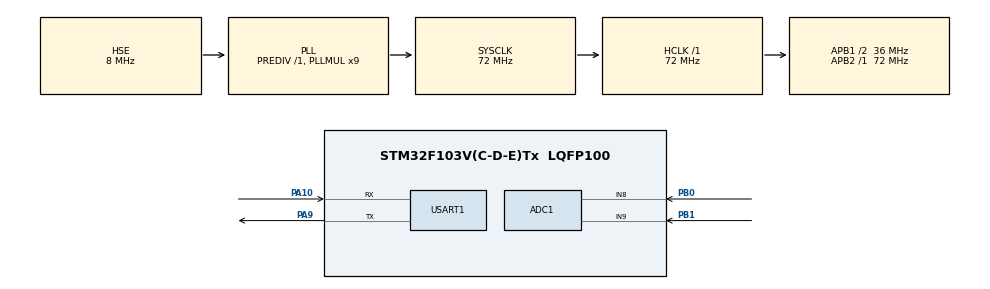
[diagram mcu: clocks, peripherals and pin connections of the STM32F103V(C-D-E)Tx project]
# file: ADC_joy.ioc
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ADC1.Channel-0\#ChannelRegularConversion=ADC_CHANNEL_8
ADC1.Channel-1\#ChannelRegularConversion=ADC_CHANNEL_9
ADC1.ContinuousConvMode=DISABLE
ADC1.NbrOfConversion=2
ADC1.NbrOfConversionFlag=1
ADC1.Rank-0\#ChannelRegularConversion=1
ADC1.Rank-1\#ChannelRegularConversion=2
ADC1.SamplingTime-0\#ChannelRegularConversion=ADC_SAMPLETIME_1CYCLE_5
ADC1.SamplingTime-1\#ChannelRegularConversion=ADC_SAMPLETIME_1CYCLE_5
ADC1.master=1
Dma.ADC1.0.Direction=DMA_PERIPH_TO_MEMORY
Dma.ADC1.0.Instance=DMA1_Channel1
Dma.ADC1.0.MemDataAlignment=DMA_MDATAALIGN_WORD
Dma.ADC1.0.MemInc=DMA_MINC_ENABLE
Dma.ADC1.0.Mode=DMA_NORMAL
Dma.ADC1.0.PeriphDataAlignment=DMA_PDATAALIGN_WORD
Dma.ADC1.0.PeriphInc=DMA_PINC_DISABLE
Dma.ADC1.0.Priority=DMA_PRIORITY_LOW
Dma.Request0=ADC1
Mcu.Family=STM32F1
Mcu.Name=STM32F103V(C-D-E)Tx
Mcu.Package=LQFP100
NVIC.DMA1_Channel1_IRQn=true\:0\:0\:false\:false\:true\:false\:true
NVIC.PriorityGroup=NVIC_PRIORITYGROUP_4
NVIC.USART1_IRQn=true\:0\:0\:false\:false\:true\:true\:true
OSC_IN.Mode=HSE-External-Oscillator
OSC_IN.Signal=RCC_OSC_IN
OSC_OUT.Mode=HSE-External-Oscillator
OSC_OUT.Signal=RCC_OSC_OUT
PA10.Mode=Asynchronous
PA10.Signal=USART1_RX
PA9.Mode=Asynchronous
PA9.Signal=USART1_TX
PB0.Signal=ADCx_IN8
PB1.Signal=ADCx_IN9
ProjectManager.HeapSize=0x200
ProjectManager.StackSize=0x400
ProjectManager.TargetToolchain=STM32CubeIDE
RCC.AHBFreq_Value=72000000
RCC.APB1CLKDivider=RCC_HCLK_DIV2
RCC.APB1Freq_Value=36000000
RCC.APB1TimFreq_Value=72000000
RCC.APB2Freq_Value=72000000
RCC.APB2TimFreq_Value=72000000
RCC.HCLKFreq_Value=72000000
RCC.PLLMUL=RCC_PLL_MUL9
RCC.PLLSourceVirtual=RCC_PLLSOURCE_HSE
RCC.SYSCLKFreq_VALUE=72000000
RCC.SYSCLKSource=RCC_SYSCLKSOURCE_PLLCLK
RCC.USBFreq_Value=72000000
SH.ADCx_IN8.0=ADC1_IN8,IN8
SH.ADCx_IN9.0=ADC1_IN9,IN9
USART1.VirtualMode=VM_ASYNC
VP_SYS_VS_ND.Mode=No_Debug
board=custom

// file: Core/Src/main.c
/* USER CODE BEGIN Header */
/**
  ******************************************************************************
  * @file           : main.c
  * @brief          : Main program body
  ******************************************************************************
  * @attention
  *
  * <h2><center>&copy; Copyright (c) 2021 STMicroelectronics.
  * All rights reserved.</center></h2>
  *
  * This software component is licensed by ST under BSD 3-Clause license,
  * the "License"; You may not use this file except in compliance with the
  * License. You may obtain a copy of the License at:
  *                        opensource.org/licenses/BSD-3-Clause
  *
  ******************************************************************************
  */
/* USER CODE END Header */
#include "main.h"
#include "adc.h"
#include "dma.h"
#include "usart.h"
#include "gpio.h"
#include <stdio.h>

void SystemClock_Config(void);

/* USER CODE BEGIN 0 */
int _write(int file, unsigned char* p, int len)
{
   HAL_UART_Transmit(&huart1, p, len, 10);
   return len;
}
#ifdef __GNUC__
#define PUTCHAR_PROTOTYPE int __io_putchar(int ch)
#else
#define PUTCHAR_PROTOTYPE int fputc(int ch, FILE *f)  //for printf
#endif
PUTCHAR_PROTOTYPE
{

  HAL_UART_Transmit(&huart1, (uint8_t *)&ch, 1, 0xFFFF);
  return ch;
}

/* USER CODE END 0 */

int main(void)
{

  /* MCU Configuration--------------------------------------------------------*/

  /* Reset of all peripherals, Initializes the Flash interface and the Systick. */
  HAL_Init();

  /* Configure the system clock */
  SystemClock_Config();

  /* Initialize all configured peripherals */
  MX_GPIO_Init();
  MX_DMA_Init();
  MX_USART1_UART_Init();
  MX_ADC1_Init();
  /* USER CODE BEGIN 2 */
  setvbuf(stdout, NULL, _IONBF, 0);
  printf("nanhee");

  uint32_t ADC_Value_32[2];
  uint16_t ADC_Value_16[2];
  HAL_ADC_Start_DMA(&hadc1, ADC_Value_32, 2);
  /* USER CODE END 2 */

  /* Infinite loop */
  while (1)
  {

    /* USER CODE BEGIN 3 */
	  ADC_Value_16[0]=(uint16_t)ADC_Value_32[0];
	  ADC_Value_16[1]=(uint16_t)ADC_Value_32[1];

	  ADC_Value_16[0] &= 0xFFF;
	  printf("X-%4d ", ADC_Value_16[0]);

	  ADC_Value_16[1] &= 0xFFF;
	  printf("Y-%4d\n", ADC_Value_16[1]);

	  HAL_ADC_Start_DMA(&hadc1, ADC_Value_32, 2);
	  HAL_Delay(100);
  }
  /* USER CODE END 3 */
}

void SystemClock_Config(void)
{
  RCC_OscInitTypeDef RCC_OscInitStruct = {0};
  RCC_ClkInitTypeDef RCC_ClkInitStruct = {0};
  RCC_PeriphCLKInitTypeDef PeriphClkInit = {0};

  /** Initializes the RCC Oscillators according to the specified parameters
  * in the RCC_OscInitTypeDef structure.
  */
  RCC_OscInitStruct.OscillatorType = RCC_OSCILLATORTYPE_HSE;
  RCC_OscInitStruct.HSEState = RCC_HSE_ON;
  RCC_OscInitStruct.HSEPredivValue = RCC_HSE_PREDIV_DIV1;
  RCC_OscInitStruct.HSIState = RCC_HSI_ON;
  RCC_OscInitStruct.PLL.PLLState = RCC_PLL_ON;
  RCC_OscInitStruct.PLL.PLLSource = RCC_PLLSOURCE_HSE;
  RCC_OscInitStruct.PLL.PLLMUL = RCC_PLL_MUL9;
  if (HAL_RCC_OscConfig(&RCC_OscInitStruct) != HAL_OK)
  {
    Error_Handler();
  }
  /** Initializes the CPU, AHB and APB buses clocks
  */
  RCC_ClkInitStruct.ClockType = RCC_CLOCKTYPE_HCLK|RCC_CLOCKTYPE_SYSCLK
                              |RCC_CLOCKTYPE_PCLK1|RCC_CLOCKTYPE_PCLK2;
  RCC_ClkInitStruct.SYSCLKSource = RCC_SYSCLKSOURCE_PLLCLK;
  RCC_ClkInitStruct.AHBCLKDivider = RCC_SYSCLK_DIV1;
  RCC_ClkInitStruct.APB1CLKDivider = RCC_HCLK_DIV2;
  RCC_ClkInitStruct.APB2CLKDivider = RCC_HCLK_DIV1;

  if (HAL_RCC_ClockConfig(&RCC_ClkInitStruct, FLASH_LATENCY_2) != HAL_OK)
  {
    Error_Handler();
  }
  PeriphClkInit.PeriphClockSelection = RCC_PERIPHCLK_ADC;
  PeriphClkInit.AdcClockSelection = RCC_ADCPCLK2_DIV2;
  if (HAL_RCCEx_PeriphCLKConfig(&PeriphClkInit) != HAL_OK)
  {
    Error_Handler();
  }
}

void Error_Handler(void)
{
  __disable_irq();
  while (1)
  {
  }
}

/************************ (C) COPYRIGHT STMicroelectronics *****END OF FILE****/
